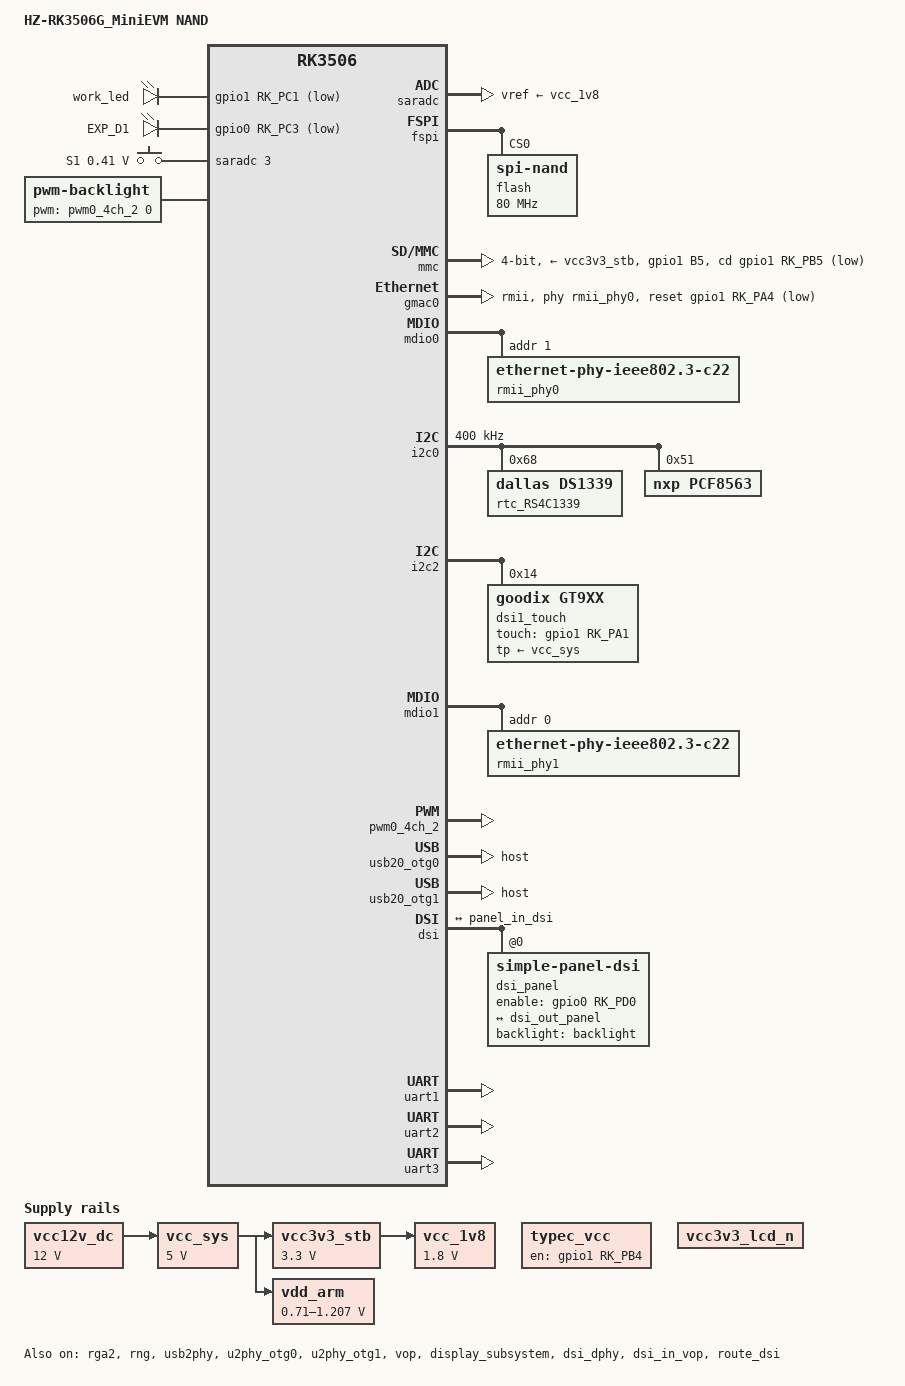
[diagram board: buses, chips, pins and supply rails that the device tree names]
// SPDX-License-Identifier: (GPL-2.0+ OR MIT)
/*
* Copyright (c) 2025 HZHY Electronics Co., Ltd.
*/

/dts-v1/;

#include "rk3506.dtsi"
#include <dt-bindings/display/drm_mipi_dsi.h>
#include <dt-bindings/input/rk-input.h>
#include <dt-bindings/suspend/rockchip-rk3506.h>

/ {
	model = "HZ-RK3506G_MiniEVM NAND";
	compatible = "rockchip,rk3506-evb1-v10", "rockchip,rk3506";
	version = "v1.0.0_20251124";
	
	chosen {
		bootargs = "earlycon=uart8250,mmio32,0xff0a0000 console=ttyFIQ0 ubi.mtd=5 root=ubi0:rootfs rw rootfstype=ubifs rootwait snd_aloop.index=7 snd_aloop.use_raw_jiffies=1";
	};
	
    aliases {
        wireless-bluetooth = &bt_dev;
        wireless-wlan = &wlan_dev;
    };

    bt_dev: wireless-bluetooth {
        compatible = "bluetooth-platdata";
        status = "disabled";
    };

    wlan_dev: wireless-wlan {
        compatible = "wlan-platdata";
        status = "disabled";
    };
	
	fiq_debugger: fiq-debugger {
		compatible = "rockchip,fiq-debugger";
		rockchip,serial-id = <0>;
		rockchip,wake-irq = <0>;
		rockchip,irq-mode-enable = <1>;
		rockchip,baudrate = <1500000>;	/* Only 115200 and 1500000 */
		interrupts = <GIC_SPI 115 IRQ_TYPE_LEVEL_HIGH>;
	};
	
	vcc12v_dc: vcc12v-dc {
		compatible = "regulator-fixed";
		regulator-name = "vcc12v_dc";
		regulator-always-on;
		regulator-boot-on;
		regulator-min-microvolt = <12000000>;
		regulator-max-microvolt = <12000000>;
	};
	
	vcc_sys: vcc-sys {
		compatible = "regulator-fixed";
		regulator-name = "vcc_sys";
		regulator-always-on;
		regulator-boot-on;
		regulator-min-microvolt = <5000000>;
		regulator-max-microvolt = <5000000>;
		vin-supply = <&vcc12v_dc>;
	};
	
	vcc3v3_stb: vcc3v3-stb {
		compatible = "regulator-fixed";
		regulator-name = "vcc3v3_stb";
		regulator-always-on;
		regulator-boot-on;
		regulator-min-microvolt = <3300000>;
		regulator-max-microvolt = <3300000>;
		vin-supply = <&vcc_sys>;
	};
	
	vcc_1v8: vcc-1v8 {
		compatible = "regulator-fixed";
		regulator-name = "vcc_1v8";
		regulator-always-on;
		regulator-boot-on;
		regulator-min-microvolt = <1800000>;
		regulator-max-microvolt = <1800000>;
		vin-supply = <&vcc3v3_stb>;
	};
	
	vdd_arm: vdd-arm {
		compatible = "pwm-regulator";
		pwms = <&pwm0_4ch_0 0 5000 1>;
		regulator-name = "vdd_arm";
		regulator-min-microvolt = <710000>;
		regulator-max-microvolt = <1207000>;
		regulator-init-microvolt = <1011000>;
		regulator-always-on;
		regulator-boot-on;
		regulator-settling-time-up-us = <250>;
		pwm-supply = <&vcc_sys>;
	};

	//typec供电
	typec_vcc: typec_vcc {
		compatible = "regulator-fixed";
		enable-active-high;
		gpio = <&gpio1 RK_PB4 GPIO_ACTIVE_HIGH>;
		regulator-name = "typec_vcc";
		regulator-boot-on;
		regulator-always-on;
	};
	
	leds: leds {
		compatible = "gpio-leds";
		
		work_led: work-led {
			gpios = <&gpio1 RK_PC1 GPIO_ACTIVE_LOW>;
			linux,default-trigger = "heartbeat";
		};
		//拓展版D1
		EXP_D1: EXP_D1 {
			gpios = <&gpio0 RK_PC3 GPIO_ACTIVE_LOW>;
			linux,default-trigger = "heartbeat";
		};
	};

	//按键S1
	user_adc_keys: user-adc-keys {
		status = "okay";
		compatible = "adc-keys";
		io-channels = <&saradc 3>;
		io-channel-names = "buttons";
		keyup-threshold-microvolt = <1800000>;
		poll-interval = <100>;
	
		/* S1 */
		S1-key {
			label = "S1";
			linux,code = <KEY_UP>;
			press-threshold-microvolt = <410000>;
		};
	};
	
	vcc3v3_lcd_n: vcc3v3-lcd-n {
		compatible = "regulator-fixed";
		regulator-name = "vcc3v3_lcd_n";
		pinctrl-names = "default";
		pinctrl-0 = <&lcd_en>;
		reset-gpios = <&gpio0 RK_PD0 GPIO_ACTIVE_HIGH>;
		enable-active-high;
		regulator-boot-on;
		regulator-always-on;
	};
	
	backlight: backlight {
		compatible = "pwm-backlight";
		pwms = <&pwm0_4ch_2 0 25000 0>;
		brightness-levels = <
		0  20  20  21  21  22  22  23
		23  24  24  25  25  26  26  27
		27  28  28  29  29  30  30  31
		31  32  32  33  33  34  34  35
		35  36  36  37  37  38  38  39
		40  41  42  43  44  45  46  47
		48  49  50  51  52  53  54  55
		56  57  58  59  60  61  62  63
		64  65  66  67  68  69  70  71
		72  73  74  75  76  77  78  79
		80  81  82  83  84  85  86  87
		88  89  90  91  92  93  94  95
		96  97  98  99 100 101 102 103
		104 105 106 107 108 109 110 111
		112 113 114 115 116 117 118 119
		120 121 122 123 124 125 126 127
		128 129 130 131 132 133 134 135
		136 137 138 139 140 141 142 143
		144 145 146 147 148 149 150 151
		152 153 154 155 156 157 158 159
		160 161 162 163 164 165 166 167
		168 169 170 171 172 173 174 175
		176 177 178 179 180 181 182 183
		184 185 186 187 188 189 190 191
		192 193 194 195 196 197 198 199
		200 201 202 203 204 205 206 207
		208 209 210 211 212 213 214 215
		216 217 218 219 220 221 222 223
		224 225 226 227 228 229 230 231
		232 233 234 235 236 237 238 239
		240 241 242 243 244 245 246 247
		248 249 250 251 252 253 254 255
		>;
		default-brightness-level = <200>;
		status = "okay";
	};
	
	
};

//ADC节点
&saradc {
	vref-supply = <&vcc_1v8>;
	status = "okay";
};

&drm_logo {
	compatible = "rockchip,drm-logo";
	reg = <0x400000 0x100000>;
};

&fspi {
	status = "okay";
	flash@0 {
		compatible = "spi-nand";
		reg = <0>;
		spi-max-frequency = <80000000>;
		spi-rx-bus-width = <4>;
		spi-tx-bus-width = <1>;
	};
};

&mmc {
	cap-mmc-highspeed;
	cap-sd-highspeed;
	bus-width = <4>;
	no-sdio;
	no-mmc;
	cd-gpios = <&gpio1 RK_PB5 GPIO_ACTIVE_LOW>;
	disable-wp;
	pinctrl-names = "default";
	pinctrl-0 = <&sdmmc_clk_pins &sdmmc_cmd_pins &sdmmc_bus4_pins &sdmmc_det>;
	vmmc-supply = <&vcc3v3_stb>;
	vqmmc-supply = <&vcc3v3_stb>;
	status = "okay";
};

&cma {
	size = <0x1600000>;
};

&cpu0 {
	cpu-supply = <&vdd_arm>;
};

&can0 {
	rockchip,rx-max-data = <18>;
	assigned-clocks = <&cru CLK_CAN0>;
	assigned-clock-rates = <300000000>;
	pinctrl-0 = <&rm_io19_can0_tx &rm_io20_can0_rx>;
	pinctrl-names = "default";
	status = "disabled";
};

&can1 {
	rockchip,rx-max-data = <18>;
	assigned-clocks = <&cru CLK_CAN1>;
	assigned-clock-rates = <300000000>;
	pinctrl-0 = <&rm_io13_can1_tx &rm_io18_can1_rx>;
	pinctrl-names = "default";
	status = "disabled";
};

&rga2 {
	status = "okay";
};

&rng {
	status = "okay";
};

&gmac0 {
	phy-mode = "rmii";
	clock_in_out = "output";
	
	snps,reset-gpio = <&gpio1 RK_PA4 GPIO_ACTIVE_LOW>;
	snps,reset-active-low;
	snps,reset-delays-us = <0 20000 100000>;
	
	pinctrl-names = "default";
	pinctrl-0 = <&eth_rmii0_miim_pins
	&eth_rmii0_tx_bus2_pins
	&eth_rmii0_rx_bus2_pins
	&eth_rmii0_clk_pins>;
	
	phy-handle = <&rmii_phy0>;
	status = "okay";
};


&mdio0 {
	rmii_phy0: phy@1 {
		compatible = "ethernet-phy-ieee802.3-c22";
		reg = <0x1>;
	};
};

&gmac1 {
	phy-mode = "rmii";
	clock_in_out = "input";
	
	//snps,reset-gpio = <&gpio4 RK_PA3 GPIO_ACTIVE_LOW>;
	snps,reset-gpio = <&gpio0 RK_PB4 GPIO_ACTIVE_LOW>;
	snps,reset-active-low;
	snps,reset-delays-us = <0 20000 100000>;
	
	pinctrl-names = "default";
	pinctrl-0 = <&eth_rmii1_miim_pins
	&eth_rmii1_tx_bus2_pins
	&eth_rmii1_rx_bus2_pins
	&eth_rmii1_clk_pins>;
	
	phy-handle = <&rmii_phy1>;
	status = "disabled";
};

&i2c0 {
	clock-frequency = <400000>;
	status = "okay";
	pinctrl-names = "default";
	pinctrl-0 = <&rm_io25_i2c0_scl &rm_io24_i2c0_sda>;
	
	rtc_RS4C1339: rtc@68 {
		compatible = "dallas,ds1339";
		reg = <0x68>;
		status = "okay";
	};
};


&i2c2 {
	status = "okay";
	pinctrl-names = "default";
	pinctrl-0 = <&rm_io4_i2c2_scl
	&rm_io5_i2c2_sda>;
	dsi1_touch: gt9xx@14 {
		compatible = "goodix,gt9xx";
		reg = <0x14>;
		touch-gpio = <&gpio1 RK_PA1 IRQ_TYPE_LEVEL_HIGH>;
		//reset-gpio = <&gpio1 RK_PA1 GPIO_ACTIVE_HIGH>;
		max-x = <720>;
		max-y = <1280>;
		tp-size = <911>;
		tp-supply = <&vcc_sys>;
		wakeup-source;
		goodix-ts-name = "dsi1_ts_gt9xx";
		status = "okay";
	};
	
};

&mdio1 {
	rmii_phy1: phy@0 {
		compatible = "ethernet-phy-ieee802.3-c22";
		reg = <0x0>;
		clocks = <&cru CLK_MAC_OUT>;
		assigned-clocks = <&cru CLK_MAC_OUT>;
		assigned-clock-rates = <25000000>;
	};
};

&pwm0_4ch_2 {
	status = "okay";
	pinctrl-names = "active";
	pinctrl-0 = <&rm_io3_pwm0_ch2>;
};

&vop_out_rgb {
	/delete-property/ remote-endpoint;
};

&usb2phy {
	status = "okay";
};

&u2phy_otg0 {
	status = "okay";
};

&u2phy_otg1 {
	status = "okay";
};

&usb20_otg0 {
	//dr_mode = "peripheral";
	dr_mode = "host";
	status = "okay";
};


&usb20_otg1 {
	dr_mode = "host";
	status = "okay";
};

&vop {
	status = "okay";
};

&display_subsystem {
	logo-memory-region = <&drm_logo>;
	status = "okay";
};

&dsi_dphy {
	status = "okay";
};

&dsi_in_vop {
	status = "okay";
};

&route_dsi {
	status = "okay";
};

&dsi {
	status = "okay";
	dsi_panel: panel@0 {
		status = "okay";
		compatible = "simple-panel-dsi";
		enable-gpios = <&gpio0 RK_PD0 GPIO_ACTIVE_HIGH>;
		
		reg = <0>;
		backlight = <&backlight>;
		prepare-delay-ms = <5>;
		reset-delay-ms = <1>;
		init-delay-ms = <80>;
		disable-delay-ms = <10>;
		unprepare-delay-ms = <5>;
		
		width-mm = <68>;
		height-mm = <121>;
		
		dsi,flags = <(MIPI_DSI_MODE_VIDEO | MIPI_DSI_MODE_VIDEO_BURST |
		MIPI_DSI_MODE_LPM | MIPI_DSI_MODE_NO_EOT_PACKET)>;
		dsi,format = <MIPI_DSI_FMT_RGB888>;
		dsi,lanes  = <2>;
		panel-init-sequence = [
		39 00 04 B9 FF 83 94
		//15 00 02 36 01(倒向显示)
		//15 00 02 36 02(正向显示)
		15 00 02 36 01
		39 00 07 BA 61 03 68 6B B2 C0
		39 00 0B B1 48 12 72 09 32 54 71 71 57 47
		39 00 07 B2 00 80 64 0C 0D 2F
		39 00 16 B4 73 74 73 74 73 74 01 0C 86 75 00 3F 73 74 73 74 73 74 01 0C 86
		39 00 03 B6 6E 6E
		39 00 22 D3 00 00 07 07 40 07 0C 00 08 10 08 00 08 54 15 0A 05 0A 02 15 06 05 06 47 44 0A 0A 4B 10 07 07 0C 40
		39 00 2D D5 1C 1C 1D 1D 00 01 02 03 04 05 06 07 08 09 0A 0B 24 25 18 18 26 27 18 18 18 18 18 18 18 18 18 18 18 18 18 18 18 18 20 21 18 18 18 18
		39 00 2D D6 1C 1C 1D 1D 07 06 05 04 03 02 01 00 0B 0A 09 08 21 20 18 18 27 26 18 18 18 18 18 18 18 18 18 18 18 18 18 18 18 18 25 24 18 18 18 18
		39 00 3B E0 00 0A 15 1B 1E 21 24 22 47 56 65 66 6E 82 88 8B 9A 9D 98 A8 B9 5D 5C 61 66 6A 6F 7F 7F 00 0A 15 1B 1E 21 24 22 47 56 65 65 6E 81 87 8B 98 9D 99 A8 BA 5D 5D 62 67 6B 72 7F 7F
		39 00 03 C0 1F 31
		15 00 02 CC 03
		15 00 02 D4 02
		15 00 02 BD 02
		39 00 0D D8 FF FF FF FF FF FF FF FF FF FF FF FF
		15 00 02 BD 00
		15 00 02 BD 01
		15 00 02 B1 00
		15 00 02 BD 00
		39 00 08 BF 40 81 50 00 1A FC 01
		15 00 02 C6 ED
		05 64 01 11
		05 78 01 29
		
		];
		
		disp_timings0: display-timings {
			native-mode = <&dsi_timing0>;
			dsi_timing0: timing0 {
				clock-frequency = <65000000>;
				hactive = <720>;
				vactive = <1280>;
				hfront-porch = <48>;
				hsync-len = <8>;
				hback-porch = <52>;
				vfront-porch = <16>;
				vsync-len = <6>;
				vback-porch = <15>;
				hsync-active = <0>;
				vsync-active = <0>;
				de-active = <0>;
				pixelclk-active = <0>;
			};
		};
		
		ports {
			#address-cells = <1>;
			#size-cells = <0>;
			
			port@0 {
				reg = <0>;
				panel_in_dsi: endpoint {
					remote-endpoint = <&dsi_out_panel>;
				};
			};
		};
	};
	
	ports {
		#address-cells = <1>;
		#size-cells = <0>;
		
		port@1 {
			reg = <1>;
			dsi_out_panel: endpoint {
				remote-endpoint = <&panel_in_dsi>;
			};
		};
	};
};

//rtc
&i2c0 {
	status = "okay";
	pinctrl-names = "default";
	pinctrl-0 = <&rm_io25_i2c0_scl
	&rm_io24_i2c0_sda>;
	pcf8563: pcf8563@51 {
		compatible = "nxp,pcf8563";
		reg = <0x51>;
		#clock-cells = <0>;
		status = "okay";
	};
};

//RS485_0
&uart1 {
	pinctrl-names = "default";
	pinctrl-0 = <&rm_io28_uart1_tx
	&rm_io27_uart1_rx>;
	dma-names = "tx", "rx";
	status = "okay";
};

//RS485_1
&uart2 {
	pinctrl-names = "default";
	pinctrl-0 = <&rm_io9_uart2_tx
	&rm_io10_uart2_rx>;
	dma-names = "tx", "rx";
	status = "okay";
};

//beidou
&uart3 {
	pinctrl-names = "default";
	pinctrl-0 = <&rm_io8_uart3_tx
	&rm_io7_uart3_rx>;
	dma-names = "tx", "rx";
	status = "okay";
};

&pinctrl {
	sdmmc {
		sdmmc_det: sd-det {
			rockchip,pins = <1 RK_PB5 RK_FUNC_GPIO &pcfg_pull_up>;
		};
	};
	
	lcd {
		lcd_en: lcd-en {
			rockchip,pins = <0 RK_PD0 RK_FUNC_GPIO &pcfg_pull_up>;
		};
		
		tp_irq: tp-irq {
			rockchip,pins = <1 RK_PA1 RK_FUNC_GPIO &pcfg_pull_none>;
		};
	};
};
